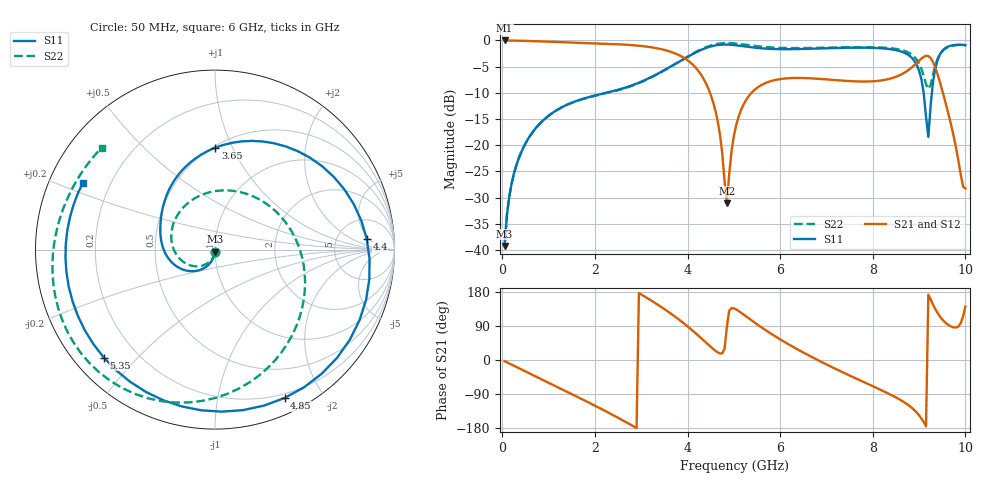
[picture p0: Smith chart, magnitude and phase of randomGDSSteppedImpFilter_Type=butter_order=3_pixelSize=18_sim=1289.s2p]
! freq	dB(S11)	phase(S11)	dB(S12)	phase(S12)
!  dB(S21)	phase(S21)	dB(S22)	phase(S22)
!S-par simulation data
#  GHz  S  DB  R 50
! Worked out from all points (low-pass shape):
!   200 points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, 50 MHz to 10 GHz, reference 50 ohm
!   highest |S21| = -0.01 dB at 50 MHz (marker M1); lowest = -31.0 dB at 4.85 GHz (marker M2)
!   |S21| within 3 dB of the highest: start of sweep to 3.859 GHz; 9.13 GHz to 9.203 GHz (72.93 MHz wide, 0.796 % of centre)
!   lowest |S11| = -39.2 dB at 50 MHz (marker M3), VSWR 1.02, Z = 50 - j1.09 ohm
!   |S11| at or under -10 dB: start of sweep to 2.241 GHz; 9.099 GHz to 9.277 GHz (178 MHz wide, 1.94 % of centre)
!   |S22| runs from -39.2 to -0.5 dB; largest |S21 - S12| = 0
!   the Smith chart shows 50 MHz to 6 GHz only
!   S11 on the Smith chart (normalised r, x): 50 MHz: 1.00, -0.02; 3.65 GHz: 0.51, +0.86; 4.4 GHz: 10, +4; 4.85 GHz: 0.16, -1.56; 5.35 GHz: 0.09, -0.40; 6 GHz: 0.10, +0.24
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0.05  -39.23 -91.4  -0.01 -3.1  -0.01 -3.1  -39.24 -92.4
0.2  -27.35 -100.4  -0.03 -12.1  -0.03 -12.1  -27.37 -103.7
0.5  -19.66 -116.4  -0.09 -30.2  -0.09 -30.2  -19.68 -124.8
1.75  -11.11 -176.0  -0.48 -105.1  -0.48 -105.1  -11.15 144.4
2.65  -9.03 147.8  -0.81 -162.5  -0.81 -162.5  -9.10 65.7
3.4  -6.15 108.8  -1.60 142.5  -1.60 142.5  -6.20 -5.9
3.65  -4.91 89.8  -2.21 121.6  -2.21 121.6  -4.93 -29.1
4.05  -2.89 49.8  -4.13 83.8  -4.13 83.8  -2.83 -66.0
4.4  -1.44 4.0  -8.23 45.9  -8.23 45.9  -1.28 -99.5
4.65  -0.88 -33.8  -15.36 20.2  -15.36 20.2  -0.64 -123.9
4.85  -0.79 -64.8  -31.04 87.9  -31.04 87.9  -0.50 -142.5
5.05  -0.93 -94.9  -16.19 133.5  -16.19 133.5  -0.61 -159.6
5.35  -1.27 -135.9  -10.32 107.4  -10.32 107.4  -0.94 178.2
6  -1.67 153.2  -7.37 54.5  -7.37 54.5  -1.42 138.0
6.7  -1.58 95.9  -7.25 6.9  -7.25 6.9  -1.43 98.4
7.6  -1.38 37.9  -7.80 -46.7  -7.80 -46.7  -1.28 49.1
8.35  -1.64 -4.5  -7.35 -89.3  -7.35 -89.3  -1.45 8.8
8.95  -4.68 -48.5  -4.29 -138.7  -4.29 -138.7  -3.68 -28.1
9.2  -18.40 -3.6  -2.98 172.6  -2.98 172.6  -9.27 -13.2
9.4  -3.69 17.1  -6.49 123.9  -6.49 123.9  -3.52 6.1
9.6  -1.29 -8.7  -12.85 95.4  -12.85 95.4  -1.38 -12.1
10  -0.89 -37.5  -28.24 140.9  -28.24 140.9  -0.91 -38.7
